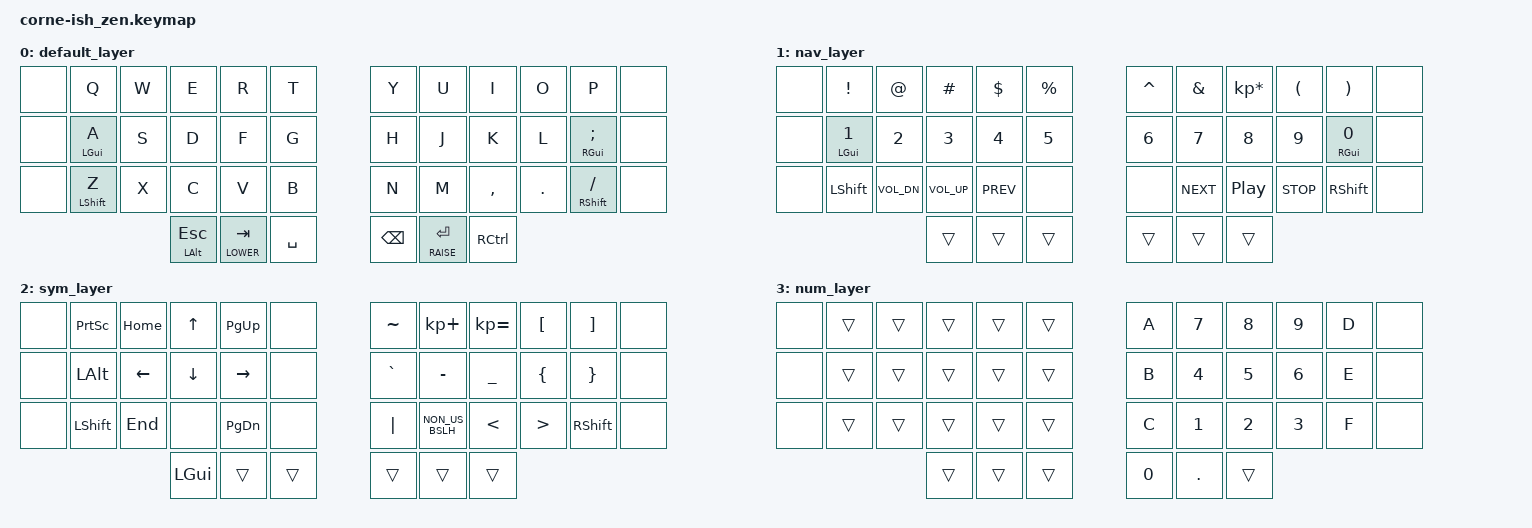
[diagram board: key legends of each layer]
/*
*
* Copyright (c) 2021 Darryl deHaan
* SPDX-License-Identifier: MIT
*
*/

#include <behaviors.dtsi>
#include <dt-bindings/zmk/keys.h>
#include <dt-bindings/zmk/bt.h>

#define DEFAULT 0
#define LOWER   1
#define RAISE   2

&mt {
    tapping-term-ms = <200>;
};

/ {
    combos {
        compatible = "zmk,combos";
        combo_quot {
            timeout-ms = <50>;
            key-positions = <20 21>;
            bindings = <&kp SQT>;
        };
        combo_dquot {
            timeout-ms = <50>;
            key-positions = <21 22>;
            bindings = <&kp DQT>;
        };
    };
};

/ {
        keymap {
                compatible = "zmk,keymap";

                default_layer {
// -----------------------------------------------------------------------------------------
// |  Q  |  W  |  E  |  R  |  T   |   |  Y  |  U   |  I  |  O  |  P  |
// |  A  |  S  |  D  |  F  |  G   |   |  H  |  J   |  K  |  L  |  ;  |
// |  Z  |  X  |  C  |  V  |  B   |   |  N  |  M   |  ,  |  .  |  /  |
//             | ALT | LWR | SPAC |   | BSC | RSE  | CTL |
                        bindings = <
   &none &kp Q &kp W &kp E &kp R &kp T   &kp Y &kp U  &kp I     &kp O   &kp P &none
   &none &mt LGUI A &kp S &kp D &kp F &kp G   &kp H &kp J  &kp K     &kp L   &mt RGUI SEMI &none
   &none &mt LSHFT Z &kp X &kp C &kp V &kp B   &kp N &kp M  &kp COMMA &kp DOT &mt RSHFT FSLH &none
          &mt LALT ESC &lt LOWER TAB &kp SPACE &kp BSPC &lt RAISE ENTER &kp RCTRL
                        >;
                };
                nav_layer {
// -----------------------------------------------------------------------------------------
// |  !  |  @  |  #  |  $  |  %  |   |  ^  |  &  |  *  |  (  |  )  |
// |  1  |  2  |  3  |  4  |  5  |   |  6  |  7  |  8  |  9  |  0  |
// | BT2 |     |     |      |     |   |  \  | ENT  |      |     |      |
//             |     |      |     |   |     |      |      |
                        bindings = <
   &none &kp EXCL  &kp AT    &kp HASH  &kp DLLR  &kp PRCNT   &kp CARET &kp AMPS  &kp KP_MULTIPLY &kp LPAR &kp RPAR &none
   &none &mt LGUI N1 &kp N2 &kp N3 &kp N4 &kp N5      &kp N6 &kp N7 &kp N8 &kp N9 &mt RGUI N0 &none
   &none &kp LSHFT &kp C_VOL_DN      &kp C_VOL_UP   &kp C_PREV    &none     &none &kp C_NEXT  &kp C_PP   &kp C_STOP    &kp RSHFT &none
                            &trans   &trans    &trans     &trans   &trans   &trans
                        >;
                };

                sym_layer {
// -----------------------------------------------------------------------------------------
// |  !  |  @  |  #  |  $  |  %  |   |  ^  |  &  |  *  |  (  |  )  |
// |     |     |     |     |     |   |  -  |  =  |  {  |  }  | "|" |
// |     |     |     |     |     |   |  _  |  +  |  [  |  ]  |  \  |
//             | GUI |     | SPC |   | ENT |     | ALT |
                        bindings = <
   &none &kp PSCRN  &kp HOME    &kp UP  &kp PG_UP        &none   &kp TILDE &kp KP_PLUS  &kp KP_EQUAL &kp LBKT &kp RBKT &none
   &none &kp LALT    &kp LEFT    &kp DOWN    &kp RIGHT    &none      &kp GRAVE &kp MINUS &kp UNDER        &kp LBRC &kp RBRC &none
   &none &kp LSHFT    &kp END    &none    &kp PG_DN    &none      &kp PIPE    &kp NON_US_BSLH    &kp LT          &kp GT   &kp RSHFT &none
                       &kp LGUI  &trans    &trans   &trans   &trans    &trans
                        >;
                };

// This layer is unreachable until "tri layer state" is sorted out.
// Leaving it here for completeness.
                num_layer {
// -----------------------------------------------------------------------------------------
// |     |     |     |     |     |   |  A  |  7  |  8  |  9  |  D  |
// |     |     |     |     |     |   |  B  |  4  |  5  |  6  |  E  |
// |     |     |     |     |     |   |  C  |  1  |  2  |  3  |  F  |
//             |     |     |     |   |  0  |  .  |     |
                        bindings = <
   &none &trans &trans &trans &trans &trans    &kp A  &kp N7  &kp N8 &kp N9 &kp D &none
   &none &trans &trans &trans &trans &trans    &kp B  &kp N4  &kp N5 &kp N6 &kp E &none
   &none &trans &trans &trans &trans &trans    &kp C  &kp N1  &kp N2 &kp N3 &kp F &none
                 &trans &trans &trans    &kp N0 &kp DOT &trans
                        >;
                };
        };
};
